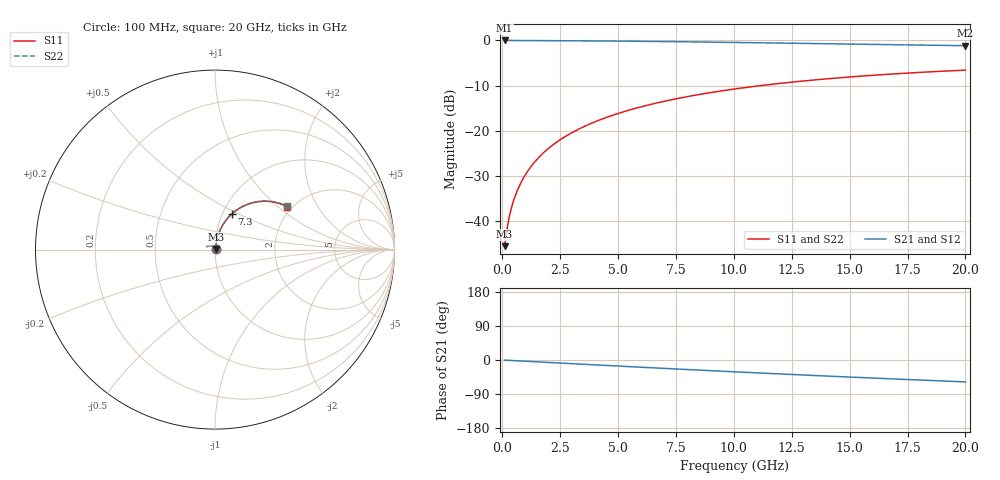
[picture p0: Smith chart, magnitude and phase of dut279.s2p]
! Touchstone file exported from HFSS 2026.1.0
!  File:  C:/ffzhzh/LocalFiles/Ansys_Project_Files/temp_train_TMRDL_279_1782985328_42984.aedt
!  Generated:  05:43:37 PM Jul  2, 2026
!  Design:  TMRDL
!  Project:  temp_train_TMRDL_279_1782985328_42984
! Variables:
!  h_bsmrdl = 2um
!  h_ox = 20um
!  h_rdl = 5um
!  h_sub = 80um
!  h_tmrdl = 3.14um
!  h_tsv = 80um
!  h_via = 3um
!  l_bsmrdl = 300um
!  l_sub = 1296.79um
!  l_tmrdl = 896.79um
!  m_sub = 200um
!  pitch = 56.34um
!  r_tsv = 6um
!  s_tmrdl = 10um
!  w_bsmrdl = 18um
!  w_sub = 500um
!  w_tmrdl = 27.43um
!  x_tsv_center1 = 910.505um
!  x_tsv_center2 = 1228.505um
!  x_tsv_center3 = 2152.725um
!  x_tsv_center4 = 2470.725um
!  x_tsv_center5 = 3394.945um
!  x_tsv_center6 = 3712.945um
# GHz S MA R 50.000000
! Terminal data exported
! Port[1] = TM_RDL1_1_T1
! Port[2] = TM_RDL1_1_T2
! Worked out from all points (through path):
!   200 points, 100 MHz to 20 GHz, reference 50 ohm
!   highest |S21| = -0.03 dB at 100 MHz (marker M1); lowest = -1.2 dB at 20 GHz (marker M2)
!   group delay of S21, straight-line fit = 8.04 ps
!   lowest |S11| = -45.5 dB at 100 MHz (marker M3), VSWR 1.01, Z = 50.4 + j0.356 ohm
!   |S11| at or under -10 dB: start of sweep to 11.18 GHz
!   |S22| runs from -45.5 to -6.6 dB; largest |S21 - S12| = 8.7e-15
!   S11 on the Smith chart (normalised r, x): 100 MHz: 1.01, +0.01; 7.3 GHz: 1.11, +0.46; 20 GHz: 1.89, +1.15
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0.1  0.005308 41.7  0.9961 -0.3  0.9961 -0.3  0.005308 41.7
! Gamma 0 0 0 0
! Port Impedance 50 0 50 0
0.2  0.008136 58.5  0.9958 -0.7  0.9958 -0.7  0.008136 58.5
0.3  0.01118 65.7  0.9955 -1.0  0.9955 -1.0  0.01118 65.7
0.4  0.01424 69.7  0.9953 -1.3  0.9953 -1.3  0.01424 69.7
0.5  0.0173 72.3  0.9951 -1.7  0.9951 -1.7  0.0173 72.3
0.6  0.02037 74.1  0.9949 -2.0  0.9949 -2.0  0.02037 74.1
0.8  0.02654 76.4  0.9946 -2.6  0.9946 -2.6  0.02654 76.4
1.1  0.03588 78.1  0.9942 -3.6  0.9942 -3.6  0.03588 78.1
1.3  0.04213 78.6  0.9939 -4.2  0.9939 -4.2  0.04213 78.6
1.6  0.05153 78.8  0.9933 -5.2  0.9933 -5.2  0.05153 78.8
2.1  0.06718 78.4  0.9922 -6.8  0.9922 -6.8  0.06718 78.5
2.7  0.08587 77.4  0.9905 -8.7  0.9905 -8.7  0.08586 77.4
3.5  0.1105 75.5  0.9877 -11.3  0.9877 -11.3  0.1105 75.5
4.2  0.1317 73.6  0.9847 -13.5  0.9847 -13.5  0.1317 73.7
5  0.1554 71.3  0.9808 -16.0  0.9808 -16.0  0.1554 71.4
6.8  0.2066 66.1  0.9702 -21.6  0.9702 -21.6  0.2066 66.2
7.3  0.2202 64.6  0.967 -23.1  0.967 -23.1  0.2202 64.8
8.6  0.2544 60.9  0.9579 -27.0  0.9579 -27.0  0.2544 61.0
10.1  0.2913 56.6  0.9467 -31.4  0.9467 -31.4  0.2913 56.7
13.4  0.3632 47.5  0.9206 -40.7  0.9206 -40.7  0.3632 47.7
16.7  0.422 38.8  0.8949 -49.5  0.8949 -49.5  0.422 39.1
20  0.4682 30.7  0.8717 -57.8  0.8717 -57.8  0.4682 31.0
